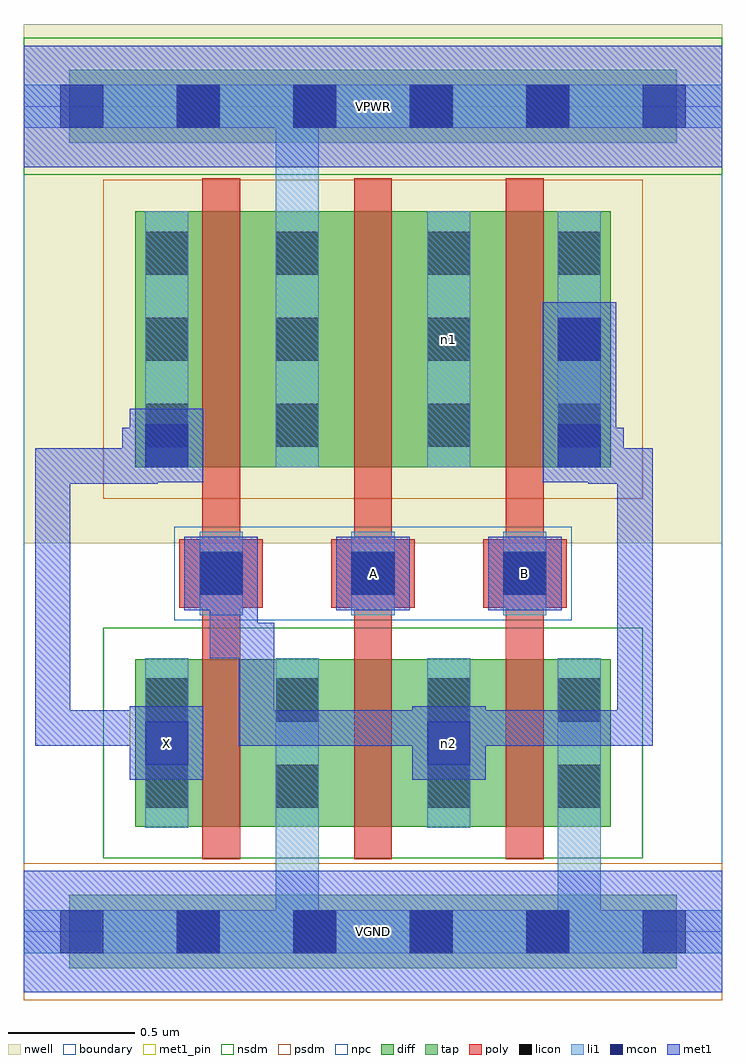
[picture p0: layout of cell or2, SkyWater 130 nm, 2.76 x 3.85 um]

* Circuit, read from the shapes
.subckt or2 A B VGND VPWR X n1 n2
XM1 VGND n2 X VGND sky130_fd_pr__nfet_01v8 w=0.66 l=0.15
XM2 n2 A VGND VGND sky130_fd_pr__nfet_01v8 w=0.66 l=0.15
XM3 VGND B n2 VGND sky130_fd_pr__nfet_01v8 w=0.66 l=0.15
XM4 VPWR n2 X VPWR sky130_fd_pr__pfet_01v8 w=1.01 l=0.15
XM5 n1 A VPWR VPWR sky130_fd_pr__pfet_01v8 w=1.01 l=0.15
XM6 n2 B n1 VPWR sky130_fd_pr__pfet_01v8 w=1.01 l=0.15
.ends

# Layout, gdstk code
import gdstk
lib = gdstk.Library(unit=1e-6, precision=1e-09)
def R(c, l, rs):  # rectangles x0, y0, x1, y1
    for r in rs: c.add(gdstk.rectangle(r[:2], r[2:], *l))
def A(c, l, x, y, w, h, nx, ny, dx, dy):  # array of equal rectangles
    R(c, l, [(x+i*dx, y+j*dy, x+i*dx+w, y+j*dy+h) for i in range(nx) for j in range(ny)])
nwell = (64, 20)
diff = (65, 20)
tap = (65, 44)
poly = (66, 20)
licon = (66, 44)
li1 = (67, 20)
mcon = (67, 44)
met1_pin = (68, 16)
met1 = (68, 20)
nsdm = (93, 44)
psdm = (94, 20)
npc = (95, 20)
boundary = (235, 4)

or2 = lib.new_cell('or2')
R(or2, nwell, [(0,1.535,2.76,3.585)])
R(or2, diff, [(0.44,0.415,2.32,1.075), (0.44,1.835,2.32,2.845)])
R(or2, tap, [(0.18,-0.145,2.58,0.145), (0.18,3.115,2.58,3.405)])
A(or2, poly, 0.705, 0.285, 0.15, 2.69, 3, 1, 0.6, 0)
A(or2, poly, 0.615, 1.28, 0.33, 0.27, 3, 1, 0.6, 0)
A(or2, licon, 0.605, -0.085, 0.17, 0.17, 4, 2, 0.46, 3.26)
A(or2, licon, 0.695, 1.33, 0.17, 0.17, 3, 1, 0.6, 0)
A(or2, licon, 0.48, 1.915, 0.17, 0.17, 1, 3, 0, 0.34)
A(or2, licon, 0.995, 1.915, 0.17, 0.17, 1, 3, 0, 0.34)
A(or2, licon, 1.595, 1.915, 0.17, 0.17, 1, 3, 0, 0.34)
A(or2, licon, 2.11, 1.915, 0.17, 0.17, 1, 3, 0, 0.34)
R(or2, licon, [(0.48,0.49,0.65,0.66), (0.995,0.49,1.165,0.66), (1.595,0.49,1.765,0.66), (2.11,0.49,2.28,0.66), (0.48,0.83,0.65,1), (0.995,0.83,1.165,1), (1.595,0.83,1.765,1), (2.11,0.83,2.28,1)])
A(or2, li1, 0.695, 1.25, 0.17, 0.33, 3, 1, 0.6, 0)
R(or2, li1, [(0,-0.085,2.76,0.085), (0.995,-0.085,1.165,1.08), (2.11,-0.085,2.28,1.08), (0.48,0.41,0.65,1.08), (0.995,0.41,1.165,1.08), (1.595,0.41,1.765,1.08), (2.11,0.41,2.28,1.08), (0.48,1.835,0.65,2.845), (0.995,1.835,1.165,2.845), (0.995,1.835,1.165,3.345), (1.595,1.835,1.765,2.845), (2.11,1.835,2.28,2.845), (0,3.175,2.76,3.345)])
A(or2, mcon, 0.145, -0.085, 0.17, 0.17, 6, 2, 0.46, 3.26)
A(or2, mcon, 0.695, 1.33, 0.17, 0.17, 3, 1, 0.6, 0)
R(or2, mcon, [(0.48,0.66,0.65,0.83), (1.595,0.66,1.765,0.83), (0.48,1.835,0.65,2.005), (2.11,1.835,2.28,2.005), (2.11,2.255,2.28,2.425)])
R(or2, met1_pin, [(0,-0.24,2.76,0.24), (0.42,0.6,0.71,0.89), (1.235,1.27,1.525,1.56), (1.835,1.27,2.125,1.56), (0,3.02,2.76,3.5)])
A(or2, met1, 0.635, 1.27, 0.29, 0.29, 3, 1, 0.6, 0)
R(or2, met1, [(0,-0.24,2.76,0.24), (0.42,0.6,0.71,0.89), (1.535,0.6,1.825,0.89), (0.045,0.735,0.185,1.91), (0.045,0.735,0.645,0.875), (0.505,0.735,0.645,0.875), (0.85,0.735,0.99,1.22), (0.85,0.735,1.68,0.875), (1.54,0.735,1.68,0.875), (1.54,0.735,2.485,0.875), (2.345,0.735,2.485,1.91), (0.735,1.08,0.875,1.45), (0.735,1.08,0.99,1.22), (0.735,1.22,0.925,1.27), (0.85,1.22,0.925,1.27), (0.735,1.31,0.875,1.45), (0.045,1.77,0.53,1.91), (0.39,1.77,0.53,1.99), (2.23,1.77,2.485,1.91), (2.23,1.77,2.37,1.99), (0.42,1.775,0.71,2.065), (2.05,1.775,2.34,2.065), (0.39,1.85,0.635,1.99), (2.125,1.85,2.37,1.99), (2.05,2.065,2.34,2.195), (2.05,2.195,2.34,2.485), (0,3.02,2.76,3.5)])
R(or2, nsdm, [(0.315,0.29,2.445,1.2), (0,2.99,2.76,3.53)])
R(or2, psdm, [(0,-0.27,2.76,0.27), (0.315,1.71,2.445,2.97)])
R(or2, npc, [(0.595,1.23,2.165,1.6)])
R(or2, boundary, [(0,0,2.76,3.26)])
or2.add(gdstk.Label('n2', (1.68,0.745), layer=67, texttype=5))
or2.add(gdstk.Label('n1', (1.68,2.34), layer=67, texttype=5))
or2.add(gdstk.Label('A', (1.38,1.415), layer=68, texttype=5))
or2.add(gdstk.Label('B', (1.98,1.415), layer=68, texttype=5))
or2.add(gdstk.Label('X', (0.565,0.745), layer=68, texttype=5))
or2.add(gdstk.Label('VPWR', (1.38,3.26), layer=68, texttype=5))
or2.add(gdstk.Label('VGND', (1.38,0), layer=68, texttype=5))
or2.add(gdstk.Label('A', (1.38,1.415), layer=68, texttype=16))
or2.add(gdstk.Label('B', (1.98,1.415), layer=68, texttype=16))
or2.add(gdstk.Label('X', (0.565,0.745), layer=68, texttype=16))
or2.add(gdstk.Label('VPWR', (1.38,3.26), layer=68, texttype=16))
or2.add(gdstk.Label('VGND', (1.38,0), layer=68, texttype=16))

lib.write_gds('or2.gds')
